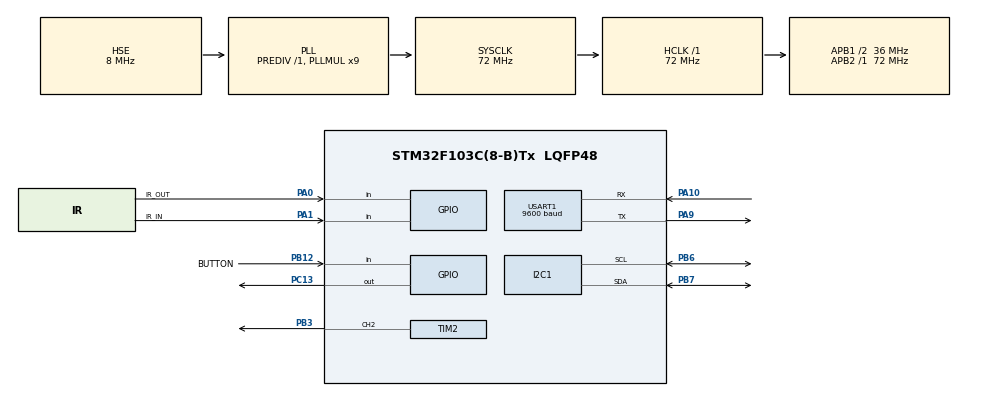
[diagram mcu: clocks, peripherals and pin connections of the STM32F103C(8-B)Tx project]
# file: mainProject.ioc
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Mcu.Family=STM32F1
Mcu.Name=STM32F103C(8-B)Tx
Mcu.Package=LQFP48
NVIC.PriorityGroup=NVIC_PRIORITYGROUP_4
NVIC.USART1_IRQn=true\:1\:0\:true\:false\:true\:true\:true\:true
PA0-WKUP.GPIO_Label=IR_OUT
PA0-WKUP.GPIO_PuPd=GPIO_NOPULL
PA0-WKUP.Signal=GPIO_Input
PA1.GPIO_Label=IR_IN
PA1.Signal=GPIO_Input
PA10.Mode=Asynchronous
PA10.Signal=USART1_RX
PA13.Mode=Serial_Wire
PA13.Signal=SYS_JTMS-SWDIO
PA14.Mode=Serial_Wire
PA14.Signal=SYS_JTCK-SWCLK
PA9.Mode=Asynchronous
PA9.Signal=USART1_TX
PB12.GPIO_Label=BUTTON
PB12.GPIO_PuPd=GPIO_PULLUP
PB12.Signal=GPIO_Input
PB3.Signal=S_TIM2_CH2
PB6.Mode=I2C
PB6.Signal=I2C1_SCL
PB7.Mode=I2C
PB7.Signal=I2C1_SDA
PC13-TAMPER-RTC.Signal=GPIO_Output
PD0-OSC_IN.Mode=HSE-External-Oscillator
PD0-OSC_IN.Signal=RCC_OSC_IN
PD1-OSC_OUT.Mode=HSE-External-Oscillator
PD1-OSC_OUT.Signal=RCC_OSC_OUT
ProjectManager.HeapSize=0x200
ProjectManager.StackSize=0x400
ProjectManager.TargetToolchain=MDK-ARM V5.32
RCC.AHBFreq_Value=72000000
RCC.APB1CLKDivider=RCC_HCLK_DIV2
RCC.APB1Freq_Value=36000000
RCC.APB1TimFreq_Value=72000000
RCC.APB2Freq_Value=72000000
RCC.APB2TimFreq_Value=72000000
RCC.HCLKFreq_Value=72000000
RCC.PLLMUL=RCC_PLL_MUL9
RCC.PLLSourceVirtual=RCC_PLLSOURCE_HSE
RCC.SYSCLKFreq_VALUE=72000000
RCC.SYSCLKSource=RCC_SYSCLKSOURCE_PLLCLK
RCC.USBFreq_Value=72000000
SH.S_TIM2_CH2.0=TIM2_CH2,PWM Generation2 CH2
TIM2.Channel-PWM\ Generation2\ CH2=TIM_CHANNEL_2
TIM2.Period=19999
TIM2.Prescaler=63
USART1.BaudRate=9600
USART1.VirtualMode=VM_ASYNC
VP_TIM2_VS_ClockSourceINT.Mode=Internal
board=custom

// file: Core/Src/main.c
/* USER CODE BEGIN Header */
/**
  ******************************************************************************
  * @file           : main.c
  * @brief          : Main program body
  ******************************************************************************
  * @attention
  *
  * Copyright (c) 2022 STMicroelectronics.
  * All rights reserved.
  *
  * This software is licensed under terms that can be found in the LICENSE file
  * in the root directory of this software component.
  * If no LICENSE file comes with this software, it is provided AS-IS.
  *
  ******************************************************************************
  */
/* USER CODE END Header */
#include "main.h"

/* USER CODE BEGIN Includes */
#include "LiquidCrystal_I2C.h"
#include "string.h"
LiquidCrystal_I2C lcd;
/* USER CODE END Includes */

I2C_HandleTypeDef hi2c1;

TIM_HandleTypeDef htim2;

UART_HandleTypeDef huart1;

void SystemClock_Config(void);
static void MX_GPIO_Init(void);
static void MX_I2C1_Init(void);
static void MX_TIM2_Init(void);
static void MX_USART1_UART_Init(void);

/* USER CODE BEGIN 0 */
static uint8_t carSlot=3;			//Cho trong trong bai

const uint16_t angle;
uint8_t Rxdata;
uint8_t Rxbuff[100];
uint8_t flagOn=0, flagOff=0;
//uint8_t index = 0;
uint8_t btn_sta;

uint8_t mode=0;
//===========================LCD======================
void displayGreeting()
{
	lcd_clear_display(&lcd);
	HAL_Delay(10);
	lcd_set_cursor(&lcd,0, 4);
	lcd_printf(&lcd,"WELCOME!!!");
	lcd_set_cursor(&lcd,1, 2);
	if (carSlot >0)
		lcd_printf(&lcd,"Slot left: %d",carSlot-1);
	else if( carSlot==0)
		lcd_printf(&lcd,"Slot left: %d",carSlot);
	if(carSlot== 0)
		carSlot-=0;
	else if( carSlot>0)
		carSlot-=1;
}
void displayGoodbye()
{
	lcd_clear_display(&lcd);
	HAL_Delay(10);
	lcd_set_cursor(&lcd,0, 4);
	lcd_printf(&lcd,"GOODBYE!!!");
	lcd_set_cursor(&lcd,1, 2);
	lcd_printf(&lcd,"See you again.");
	if(carSlot==3)
		carSlot+=0;
	else if( carSlot<3)
		carSlot+=1;
}
void warningFull()
{
	lcd_set_cursor(&lcd,0, 4);
	lcd_printf(&lcd,"SORRY!!!");
	lcd_set_cursor(&lcd,1, 2);
	lcd_printf(&lcd,"Full Slot. :(");
}

void displayBrand()
{
	lcd_set_cursor(&lcd,0,3);
	lcd_printf(&lcd,"Bach Khoa");
	lcd_set_cursor(&lcd,1, 1);
	lcd_printf(&lcd, "Parking System");
}
//====================================================

//==========================Servo=====================
long map(long x, long in_min, long in_max, long out_min, long out_max)
{
  return (x - in_min) * (out_max - out_min) / (in_max - in_min) + out_min;
}

void sv_write(uint8_t angle)		//Angle: 0->180
{
	uint16_t ccr= map(angle, 0,180, 400,2500);
	__HAL_TIM_SetCompare(&htim2, TIM_CHANNEL_2, ccr);
}

//====================================================

//=====================BLUETOOTH======================
void HAL_UART_RxCpltCallback(UART_HandleTypeDef *huart)
{

	if (huart->Instance == huart1.Instance)
	{
//		Rxbuff[index] =Rxdata;
//		index++;
		if(Rxdata == 'a')
		{
			flagOn=1;
		}
		else if(Rxdata == 'b')
		{
			flagOff=1;
		}
		HAL_UART_Receive_IT(&huart1,&Rxdata,1);
	}
}
//=====================================================

/* USER CODE END 0 */

int main(void)
{

  /* MCU Configuration--------------------------------------------------------*/

  /* Reset of all peripherals, Initializes the Flash interface and the Systick. */

  HAL_Init();

  /* Configure the system clock */
  SystemClock_Config();

  /* Initialize all configured peripherals */
  MX_GPIO_Init();
  MX_I2C1_Init();
  MX_TIM2_Init();
  MX_USART1_UART_Init();
  /* USER CODE BEGIN 2 */

	HAL_TIM_PWM_Start(&htim2,TIM_CHANNEL_2);
	lcd_init(&lcd,&hi2c1,0x27);
	HAL_UART_Receive_IT(&huart1,&Rxdata,1);
	displayBrand();

  /* USER CODE END 2 */

  /* Infinite loop */
  /* USER CODE BEGIN WHILE */
  while (1)
  {
		btn_sta= HAL_GPIO_ReadPin(GPIOB,GPIO_PIN_12);
		if(btn_sta== 0)
		{
			HAL_Delay(20);
			if(HAL_GPIO_ReadPin(GPIOB,GPIO_PIN_12) ==0)
				mode ++;
			HAL_GPIO_TogglePin(GPIOC,GPIO_PIN_13);
			while (HAL_GPIO_ReadPin(GPIOB,GPIO_PIN_12) ==0);
		}

		if(mode %2 ==0)
		{
		HAL_GPIO_WritePin(GPIOC,GPIO_PIN_13,1);
		if(carSlot == 3)			//KHONG CO XE TRONG BAI
		{
			if ( HAL_GPIO_ReadPin(GPIOA,GPIO_PIN_0) == 0 )			//IR_Ngoai
			{

			displayGreeting();
			sv_write(0);
			HAL_Delay(2500);
			lcd_clear_display(&lcd);
			sv_write(90);
			}

			else if ( HAL_GPIO_ReadPin(GPIOA, GPIO_PIN_1) ==0)	//IR_Trong
			{

			displayGoodbye();
			sv_write(0);
			HAL_Delay(2500);
			lcd_clear_display(&lcd);
			sv_write(90);
			}
		}
		else if (carSlot < 3 && carSlot >0)			//CO XE TRONG BAI
		{
			if ( HAL_GPIO_ReadPin(GPIOA,GPIO_PIN_0) == 0 )		//IR_Ngoai
			{

			displayGreeting();
			sv_write(0);
			HAL_Delay(2500);
			lcd_clear_display(&lcd);
			sv_write(90);
			}
			else if ( HAL_GPIO_ReadPin(GPIOA,GPIO_PIN_1) == 0 )	//IR_Trong
			{

			displayGoodbye();
			sv_write(0);
			HAL_Delay(2500);
			lcd_clear_display(&lcd);
			sv_write(90);
			}
		}
		else if ( carSlot == 0)	//FULL
		{
			if ( HAL_GPIO_ReadPin(GPIOA,GPIO_PIN_0) == 0 )		//IR_Ngoai
			{

			warningFull();
			HAL_Delay(2500);
			lcd_clear_display(&lcd);
			}
			else if ( HAL_GPIO_ReadPin(GPIOA,GPIO_PIN_1) == 0 )	//IR_Trong
			{

			displayGoodbye();
			sv_write(0);
			HAL_Delay(2500);
			lcd_clear_display(&lcd);
			sv_write(90);
			}
		}
		HAL_Delay(500);
		}

		else if (mode %2 != 0)
		{
			HAL_GPIO_WritePin(GPIOC,GPIO_PIN_13,0);
			if(flagOn)
			{

				displayGreeting();
				sv_write(0);
				HAL_Delay(2500);
				lcd_clear_display(&lcd);
				sv_write(90);
				flagOn =0;
			}
			if(flagOff)
			{

				displayGoodbye();
				sv_write(0);
				HAL_Delay(2500);
				lcd_clear_display(&lcd);
				sv_write(90);
				flagOff =0;
			}

		}
    /* USER CODE END WHILE */

  }
}

void SystemClock_Config(void)
{
  RCC_OscInitTypeDef RCC_OscInitStruct = {0};
  RCC_ClkInitTypeDef RCC_ClkInitStruct = {0};

  /** Initializes the RCC Oscillators according to the specified parameters
  * in the RCC_OscInitTypeDef structure.
  */
  RCC_OscInitStruct.OscillatorType = RCC_OSCILLATORTYPE_HSE;
  RCC_OscInitStruct.HSEState = RCC_HSE_ON;
  RCC_OscInitStruct.HSEPredivValue = RCC_HSE_PREDIV_DIV1;
  RCC_OscInitStruct.HSIState = RCC_HSI_ON;
  RCC_OscInitStruct.PLL.PLLState = RCC_PLL_ON;
  RCC_OscInitStruct.PLL.PLLSource = RCC_PLLSOURCE_HSE;
  RCC_OscInitStruct.PLL.PLLMUL = RCC_PLL_MUL9;
  if (HAL_RCC_OscConfig(&RCC_OscInitStruct) != HAL_OK)
  {
    Error_Handler();
  }

  /** Initializes the CPU, AHB and APB buses clocks
  */
  RCC_ClkInitStruct.ClockType = RCC_CLOCKTYPE_HCLK|RCC_CLOCKTYPE_SYSCLK
                              |RCC_CLOCKTYPE_PCLK1|RCC_CLOCKTYPE_PCLK2;
  RCC_ClkInitStruct.SYSCLKSource = RCC_SYSCLKSOURCE_PLLCLK;
  RCC_ClkInitStruct.AHBCLKDivider = RCC_SYSCLK_DIV1;
  RCC_ClkInitStruct.APB1CLKDivider = RCC_HCLK_DIV2;
  RCC_ClkInitStruct.APB2CLKDivider = RCC_HCLK_DIV1;

  if (HAL_RCC_ClockConfig(&RCC_ClkInitStruct, FLASH_LATENCY_2) != HAL_OK)
  {
    Error_Handler();
  }
}

static void MX_I2C1_Init(void)
{

  hi2c1.Instance = I2C1;
  hi2c1.Init.ClockSpeed = 100000;
  hi2c1.Init.DutyCycle = I2C_DUTYCYCLE_2;
  hi2c1.Init.OwnAddress1 = 0;
  hi2c1.Init.AddressingMode = I2C_ADDRESSINGMODE_7BIT;
  hi2c1.Init.DualAddressMode = I2C_DUALADDRESS_DISABLE;
  hi2c1.Init.OwnAddress2 = 0;
  hi2c1.Init.GeneralCallMode = I2C_GENERALCALL_DISABLE;
  hi2c1.Init.NoStretchMode = I2C_NOSTRETCH_DISABLE;
  if (HAL_I2C_Init(&hi2c1) != HAL_OK)
  {
    Error_Handler();
  }

}

static void MX_TIM2_Init(void)
{

  TIM_ClockConfigTypeDef sClockSourceConfig = {0};
  TIM_MasterConfigTypeDef sMasterConfig = {0};
  TIM_OC_InitTypeDef sConfigOC = {0};

  htim2.Instance = TIM2;
  htim2.Init.Prescaler = 63;
  htim2.Init.CounterMode = TIM_COUNTERMODE_UP;
  htim2.Init.Period = 19999;
  htim2.Init.ClockDivision = TIM_CLOCKDIVISION_DIV1;
  htim2.Init.AutoReloadPreload = TIM_AUTORELOAD_PRELOAD_DISABLE;
  if (HAL_TIM_Base_Init(&htim2) != HAL_OK)
  {
    Error_Handler();
  }
  sClockSourceConfig.ClockSource = TIM_CLOCKSOURCE_INTERNAL;
  if (HAL_TIM_ConfigClockSource(&htim2, &sClockSourceConfig) != HAL_OK)
  {
    Error_Handler();
  }
  if (HAL_TIM_PWM_Init(&htim2) != HAL_OK)
  {
    Error_Handler();
  }
  sMasterConfig.MasterOutputTrigger = TIM_TRGO_RESET;
  sMasterConfig.MasterSlaveMode = TIM_MASTERSLAVEMODE_DISABLE;
  if (HAL_TIMEx_MasterConfigSynchronization(&htim2, &sMasterConfig) != HAL_OK)
  {
    Error_Handler();
  }
  sConfigOC.OCMode = TIM_OCMODE_PWM1;
  sConfigOC.Pulse = 0;
  sConfigOC.OCPolarity = TIM_OCPOLARITY_HIGH;
  sConfigOC.OCFastMode = TIM_OCFAST_DISABLE;
  if (HAL_TIM_PWM_ConfigChannel(&htim2, &sConfigOC, TIM_CHANNEL_2) != HAL_OK)
  {
    Error_Handler();
  }
  HAL_TIM_MspPostInit(&htim2);

}

static void MX_USART1_UART_Init(void)
{

  huart1.Instance = USART1;
  huart1.Init.BaudRate = 9600;
  huart1.Init.WordLength = UART_WORDLENGTH_8B;
  huart1.Init.StopBits = UART_STOPBITS_1;
  huart1.Init.Parity = UART_PARITY_NONE;
  huart1.Init.Mode = UART_MODE_TX_RX;
  huart1.Init.HwFlowCtl = UART_HWCONTROL_NONE;
  huart1.Init.OverSampling = UART_OVERSAMPLING_16;
  if (HAL_UART_Init(&huart1) != HAL_OK)
  {
    Error_Handler();
  }

}

static void MX_GPIO_Init(void)
{
  GPIO_InitTypeDef GPIO_InitStruct = {0};

  /* GPIO Ports Clock Enable */
  __HAL_RCC_GPIOC_CLK_ENABLE();
  __HAL_RCC_GPIOD_CLK_ENABLE();
  __HAL_RCC_GPIOA_CLK_ENABLE();
  __HAL_RCC_GPIOB_CLK_ENABLE();

  /*Configure GPIO pin Output Level */
  HAL_GPIO_WritePin(GPIOC, GPIO_PIN_13, GPIO_PIN_RESET);

  /*Configure GPIO pin : PC13 */
  GPIO_InitStruct.Pin = GPIO_PIN_13;
  GPIO_InitStruct.Mode = GPIO_MODE_OUTPUT_PP;
  GPIO_InitStruct.Pull = GPIO_NOPULL;
  GPIO_InitStruct.Speed = GPIO_SPEED_FREQ_LOW;
  HAL_GPIO_Init(GPIOC, &GPIO_InitStruct);

  /*Configure GPIO pins : IR_OUT_Pin IR_IN_Pin */
  GPIO_InitStruct.Pin = IR_OUT_Pin|IR_IN_Pin;
  GPIO_InitStruct.Mode = GPIO_MODE_INPUT;
  GPIO_InitStruct.Pull = GPIO_NOPULL;
  HAL_GPIO_Init(GPIOA, &GPIO_InitStruct);

  /*Configure GPIO pin : BUTTON_Pin */
  GPIO_InitStruct.Pin = BUTTON_Pin;
  GPIO_InitStruct.Mode = GPIO_MODE_INPUT;
  GPIO_InitStruct.Pull = GPIO_PULLUP;
  HAL_GPIO_Init(BUTTON_GPIO_Port, &GPIO_InitStruct);

}

void Error_Handler(void)
{
  __disable_irq();
  while (1)
  {
  }
}
